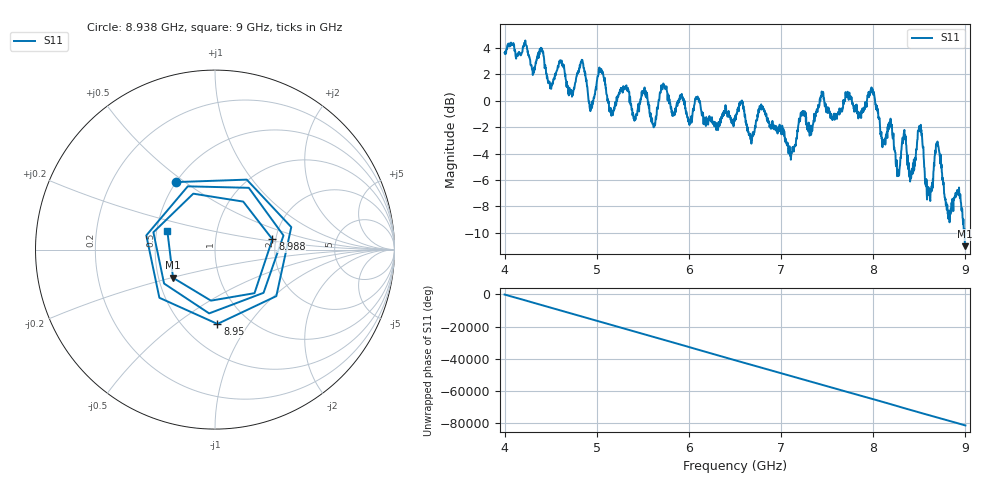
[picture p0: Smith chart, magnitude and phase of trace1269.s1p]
! Created with skrf 1.8.0 (http://scikit-rf.org).
# Hz S RI R 50.0
!freq ReS11 ImS11
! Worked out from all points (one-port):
!   1601 points, 4 GHz to 9 GHz, reference 50 ohm
!   lowest |S11| = -11.0 dB at 8.997 GHz (marker M1), VSWR 1.78, Z = 29.8 - j10.1 ohm
!   |S11| at or under -10 dB: 8.983232 GHz to 8.985654 GHz (2.422 MHz wide, 0.027 % of centre); 8.991769 GHz to end of sweep
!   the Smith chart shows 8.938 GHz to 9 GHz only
!   S11 on the Smith chart (normalised r, x): 8.938 GHz: 0.50, +0.46; 8.95 GHz: 0.72, -0.72; 8.988 GHz: 1.92, +0.25; 9 GHz: 0.57, +0.13
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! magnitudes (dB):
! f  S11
! 4 GHz  3.6
! 4.625 GHz  2.7
! 4.716 GHz  0.7
! 4.844 GHz  3.1
! 4.934 GHz  -0.5
! 5.041 GHz  2.3
! 5.159 GHz  -1.1
! 5.25 GHz  0.7
! 5.875 GHz  -0.4
! 6.5 GHz  -1.5
! 6.678 GHz  -3.2
! 6.791 GHz  -0.5
! 7.125 GHz  -3.5
! 7.234 GHz  -0.8
! 7.75 GHz  0.2
! 7.991 GHz  0.9
! 8.266 GHz  -5.2
! 8.334 GHz  -2.4
! 8.375 GHz  -4.1
! 8.506 GHz  -1.9
! 8.6 GHz  -6.8
! 8.694 GHz  -3.2
! 8.812 GHz  -8.3
! 8.938 GHz  -7.2
! 8.95 GHz  -7.7
! 8.988 GHz  -9.8
! 8.997 GHz  -11.0
! 9 GHz  -10.9
